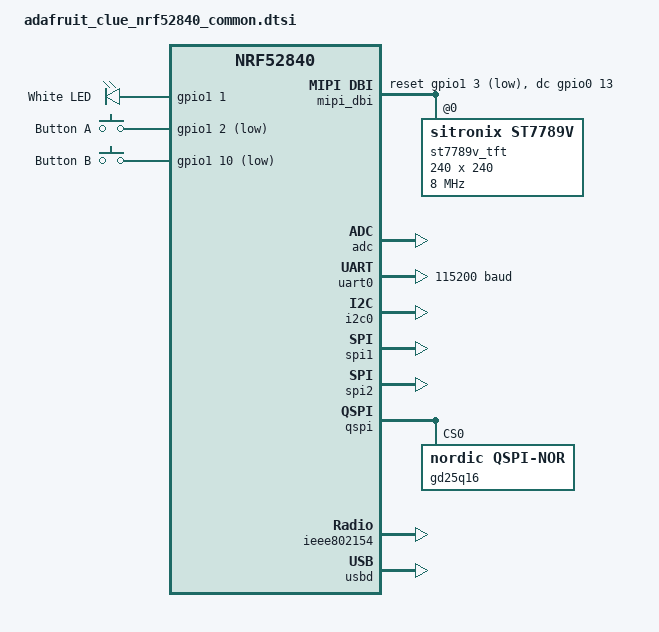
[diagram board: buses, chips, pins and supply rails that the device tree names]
/*
 * Copyright (c) 2025 Adafruit Industries LLC
 *
 * SPDX-License-Identifier: Apache-2.0
 */

/dts-v1/;
#include <nordic/nrf52840_qiaa.dtsi>
#include "adafruit_clue_nrf52840-pinctrl.dtsi"
#include "clue_connector.dtsi"
#include <zephyr/dt-bindings/input/input-event-codes.h>
#include <zephyr/dt-bindings/display/panel.h>

/ {
	chosen {
		zephyr,ieee802154 = &ieee802154;
		zephyr,display = &st7789v_tft;
	};

	leds {
		compatible = "gpio-leds";

		led0: led_0 {
			gpios = <&gpio1 1 GPIO_ACTIVE_HIGH>;
			label = "White LED";
		};
	};

	buttons {
		compatible = "gpio-keys";

		button0: button_0 {
			gpios = <&gpio1 2 (GPIO_PULL_UP | GPIO_ACTIVE_LOW)>;
			label = "Button A";
			zephyr,code = <INPUT_KEY_0>;
		};

		button1: button_1 {
			gpios = <&gpio1 10 (GPIO_PULL_UP | GPIO_ACTIVE_LOW)>;
			label = "Button B";
			zephyr,code = <INPUT_KEY_1>;
		};
	};

	mipi_dbi {
		compatible = "zephyr,mipi-dbi-spi";
		spi-dev = <&spi2>;
		dc-gpios = <&gpio0 13 GPIO_ACTIVE_HIGH>;
		reset-gpios = <&gpio1 3 GPIO_ACTIVE_LOW>;
		write-only;
		#address-cells = <1>;
		#size-cells = <0>;
		status = "okay";

		st7789v_tft: st7789v_tft@0 {
			compatible = "sitronix,st7789v";
			status = "okay";
			reg = <0>;
			mipi-max-frequency = <DT_FREQ_M(8)>;
			width = <240>;
			height = <240>;
			x-offset = <80>;
			y-offset = <0>;
			mdac = <0xa0>;
			pixel-format = <PANEL_PIXEL_FORMAT_RGB_565X>;
			mipi-mode = "MIPI_DBI_MODE_SPI_4WIRE";
		};
	};

	/* These aliases are provided for compatibility with samples */
	aliases {
		led0 = &led0;
		sw0 = &button0;
		sw1 = &button1;
		watchdog0 = &wdt0;
	};
};

&reg1 {
	regulator-initial-mode = <NRF5X_REG_MODE_DCDC>;
};

&adc {
	status = "okay";
};

&uicr {
	gpio-as-nreset;
};

&gpiote {
	status = "okay";
};

&gpio0 {
	status = "okay";
};

&gpio1 {
	status = "okay";
};

&uart0 {
	compatible = "nordic,nrf-uart";
	current-speed = <115200>;
	status = "okay";
	pinctrl-0 = <&uart0_default>;
	pinctrl-1 = <&uart0_sleep>;
	pinctrl-names = "default", "sleep";
};

&i2c0 {
	compatible = "nordic,nrf-twi";
	status = "okay";
	pinctrl-0 = <&i2c0_default>;
	pinctrl-1 = <&i2c0_sleep>;
	pinctrl-names = "default", "sleep";
};

&spi1 {
	compatible = "nordic,nrf-spi";
	status = "okay";
	pinctrl-0 = <&spi1_default>;
	pinctrl-1 = <&spi1_sleep>;
	pinctrl-names = "default", "sleep";
};

&spi2 {
	compatible = "nordic,nrf-spi";
	status = "okay";
	pinctrl-0 = <&spi2_default>;
	pinctrl-1 = <&spi2_sleep>;
	pinctrl-names = "default", "sleep";
	cs-gpios = <&gpio0 12 GPIO_ACTIVE_LOW>;
};

&qspi {
	status = "okay";
	pinctrl-0 = <&qspi_default>;
	pinctrl-1 = <&qspi_sleep>;
	pinctrl-names = "default", "sleep";

	gd25q16: gd25q16@0 {
		compatible = "nordic,qspi-nor";
		reg = <0>;
		writeoc = "pp4o";
		readoc = "read4io";
		sck-frequency = <16000000>;
		jedec-id = [c8 40 15];
		size = <16777216>;
		has-dpd;
		t-enter-dpd = <20000>;
		t-exit-dpd = <20000>;
		quad-enable-requirements = "S2B1v1";
	};
};

&ieee802154 {
	status = "okay";
};

zephyr_udc0: &usbd {
	compatible = "nordic,nrf-usbd";
	status = "okay";
};
